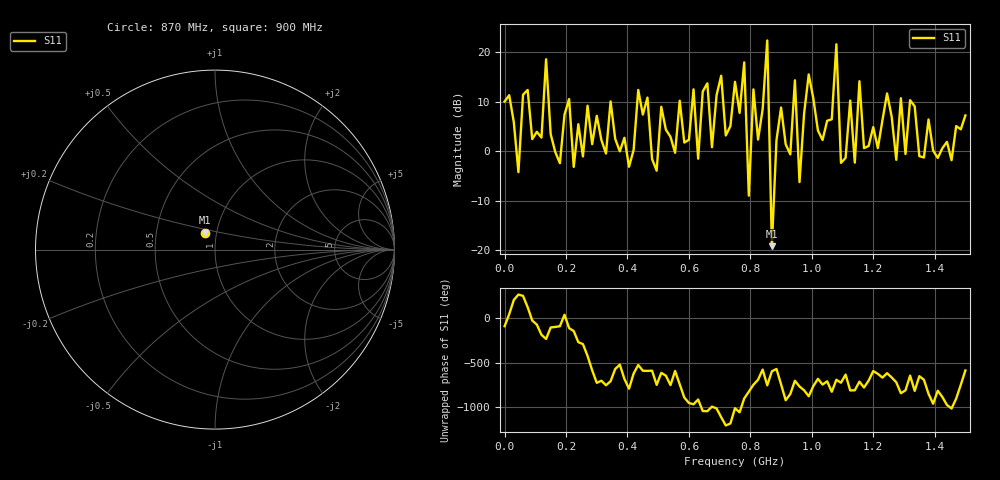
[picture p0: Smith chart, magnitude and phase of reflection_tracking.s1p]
! Created with skrf 1.8.0 (http://scikit-rf.org).
# Hz S RI R 50.0
!freq ReS11 ImS11
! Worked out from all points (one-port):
!   101 points, 50 kHz to 1.5 GHz, reference 50 ohm
!   lowest |S11| = -19.2 dB at 870 MHz (marker M1), VSWR 1.25, Z = 44 + j8.37 ohm
!   |S11| at or under -10 dB: 866.7 MHz to 876.5 MHz (9.796 MHz wide, 1.12 % of centre)
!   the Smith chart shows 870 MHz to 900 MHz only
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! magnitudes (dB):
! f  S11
! 50 kHz  10.0
! 45.05 MHz  -4.3
! 135 MHz  18.6
! 165 MHz  -0.2
! 195 MHz  7.4
! 375 MHz  -0.1
! 570 MHz  10.2
! 630 MHz  -1.5
! 750 MHz  14.0
! 780 MHz  17.9
! 795 MHz  -9.0
! 810 MHz  12.5
! 825 MHz  2.3
! 855 MHz  22.4
! 870 MHz  -19.2
! 885 MHz  2.2
! 945 MHz  14.3
! 960 MHz  -6.3
! 990 MHz  15.5
! 1.035 GHz  2.2
! 1.08 GHz  21.6
! 1.095 GHz  -2.4
! 1.125 GHz  10.2
! 1.14 GHz  -2.3
! 1.155 GHz  14.1
! 1.17 GHz  0.6
! 1.32 GHz  10.3
! 1.5 GHz  7.2
